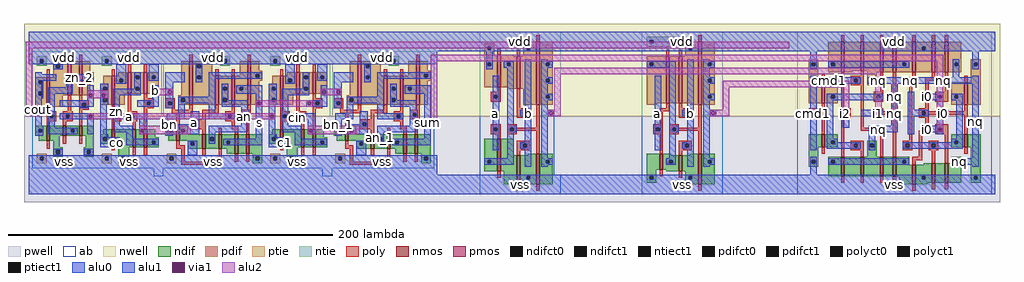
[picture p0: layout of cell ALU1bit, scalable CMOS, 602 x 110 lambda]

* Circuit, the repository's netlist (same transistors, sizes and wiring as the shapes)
* SPICE3 file created from ALU1bit.ext - technology: scmos

.option scale=0.055u

M1000 zn a vdd vdd pmos w=13 l=2
+  ad=104 pd=42 as=2950 ps=900
M1001 an_1 cin vdd vdd pmos w=18 l=2
+  ad=144 pd=52 as=0 ps=0
M1002 vdd a_266_32# a_220_80# vdd pmos w=19 l=2
+  ad=0 pd=0 as=342 ps=112
M1003 vdd zn co vdd pmos w=18 l=2
+  ad=0 pd=0 as=116 ps=50
M1004 vdd b bn vdd pmos w=27 l=2
+  ad=0 pd=0 as=294 ps=136
M1005 a_n103_34# cin vss vss nmos w=11 l=2
+  ad=55 pd=32 as=2057 ps=802
M1006 i1 a_8_19# vss vss nmos w=19 l=2
+  ad=152 pd=54 as=0 ps=0
M1007 vss cmd0 a_266_32# vss nmos w=8 l=2
+  ad=0 pd=0 as=64 ps=32
M1008 vss co zn_2 vss nmos w=6 l=2
+  ad=0 pd=0 as=48 ps=28
M1009 an_1 cin vss vss nmos w=9 l=2
+  ad=72 pd=34 as=0 ps=0
M1010 vss cmd0 a_220_16# vss nmos w=12 l=2
+  ad=0 pd=0 as=246 ps=94
M1011 s bn an vdd pmos w=18 l=2
+  ad=189 pd=70 as=144 ps=52
M1012 vdd zn_2 a_n269_41# vdd pmos w=18 l=2
+  ad=0 pd=0 as=126 ps=50
M1013 zn_1 cin vdd vdd pmos w=13 l=2
+  ad=104 pd=42 as=0 ps=0
M1014 a_230_16# i2 a_220_16# vss nmos w=12 l=2
+  ad=120 pd=44 as=0 ps=0
M1015 a_8_19# a vdd vdd pmos w=20 l=2
+  ad=203 pd=62 as=0 ps=0
M1016 s b an vss nmos w=9 l=2
+  ad=87 pd=40 as=72 ps=34
M1017 vdd zn_1 c1 vdd pmos w=18 l=2
+  ad=0 pd=0 as=116 ps=50
M1018 vdd s zn_1 vdd pmos w=13 l=2
+  ad=0 pd=0 as=0 ps=0
M1019 vss b bn vss nmos w=9 l=2
+  ad=0 pd=0 as=57 ps=32
M1020 i2 a_108_60# vdd vdd pmos w=39 l=2
+  ad=312 pd=94 as=0 ps=0
M1021 a_220_80# i1 a_254_80# vdd pmos w=19 l=2
+  ad=0 pd=0 as=114 ps=50
M1022 vss b a_18_19# vss nmos w=18 l=2
+  ad=0 pd=0 as=244 ps=76
M1023 zn_1 s a_n103_34# vss nmos w=11 l=2
+  ad=67 pd=36 as=0 ps=0
M1024 vss an_1 a_n40_30# vss nmos w=12 l=2
+  ad=0 pd=0 as=60 ps=34
M1025 zn_2 c1 vss vss nmos w=6 l=2
+  ad=0 pd=0 as=0 ps=0
M1026 vss zn co vss nmos w=9 l=2
+  ad=0 pd=0 as=57 ps=32
M1027 an a vdd vdd pmos w=18 l=2
+  ad=0 pd=0 as=0 ps=0
M1028 i1 a_8_19# vdd vdd pmos w=39 l=2
+  ad=312 pd=94 as=0 ps=0
M1029 vss b a_108_60# vss nmos w=10 l=2
+  ad=0 pd=0 as=103 ps=42
M1030 bn_1 an_1 i0 vdd pmos w=27 l=2
+  ad=294 pd=136 as=189 ps=70
M1031 a_n40_30# bn_1 i0 vss nmos w=12 l=2
+  ad=0 pd=0 as=87 ps=40
M1032 a_254_80# a_218_34# nq vdd pmos w=19 l=2
+  ad=0 pd=0 as=388 ps=128
M1033 an a vss vss nmos w=9 l=2
+  ad=0 pd=0 as=0 ps=0
M1034 a_220_16# i1 a_254_16# vss nmos w=12 l=2
+  ad=0 pd=0 as=72 ps=36
M1035 vdd b a_122_61# vdd pmos w=29 l=2
+  ad=0 pd=0 as=174 ps=70
M1036 vss zn_2 a_n269_41# vss nmos w=9 l=2
+  ad=0 pd=0 as=57 ps=32
M1037 vss zn_1 c1 vss nmos w=9 l=2
+  ad=0 pd=0 as=57 ps=32
M1038 nq i0 a_286_80# vdd pmos w=19 l=2
+  ad=0 pd=0 as=114 ps=50
M1039 vdd b zn vdd pmos w=13 l=2
+  ad=0 pd=0 as=0 ps=0
M1040 vdd s bn_1 vdd pmos w=27 l=2
+  ad=0 pd=0 as=0 ps=0
M1041 a_254_16# cmd1 nq vss nmos w=12 l=2
+  ad=0 pd=0 as=300 ps=112
M1042 a_218_34# cmd1 vdd vdd pmos w=14 l=2
+  ad=112 pd=44 as=0 ps=0
M1043 a_108_60# a vss vss nmos w=10 l=2
+  ad=0 pd=0 as=0 ps=0
M1044 nq i0 a_286_12# vss nmos w=12 l=2
+  ad=0 pd=0 as=72 ps=36
M1045 i0 bn_1 an_1 vdd pmos w=18 l=2
+  ad=0 pd=0 as=0 ps=0
M1046 a_122_61# a a_108_60# vdd pmos w=29 l=2
+  ad=0 pd=0 as=354 ps=84
M1047 nq cmd1 a_230_80# vdd pmos w=18 l=2
+  ad=0 pd=0 as=185 ps=58
M1048 zn b a_n207_34# vss nmos w=11 l=2
+  ad=67 pd=36 as=55 ps=32
M1049 vss an a_n144_30# vss nmos w=12 l=2
+  ad=0 pd=0 as=60 ps=34
M1050 a_286_80# cmd0 vdd vdd pmos w=19 l=2
+  ad=0 pd=0 as=0 ps=0
M1051 zn_2 co a_n247_66# vdd pmos w=21 l=2
+  ad=117 pd=56 as=105 ps=52
M1052 a_18_19# a a_8_19# vss nmos w=20 l=2
+  ad=0 pd=0 as=160 ps=56
M1053 vdd cmd0 a_266_32# vdd pmos w=14 l=2
+  ad=0 pd=0 as=112 ps=44
M1054 i0 s an_1 vss nmos w=9 l=2
+  ad=0 pd=0 as=0 ps=0
M1055 bn an s vdd pmos w=27 l=2
+  ad=0 pd=0 as=0 ps=0
M1056 a_n207_34# a vss vss nmos w=11 l=2
+  ad=0 pd=0 as=0 ps=0
M1057 a_n144_30# bn s vss nmos w=12 l=2
+  ad=0 pd=0 as=0 ps=0
M1058 a_n247_66# c1 vdd vdd pmos w=21 l=2
+  ad=0 pd=0 as=0 ps=0
M1059 a_286_12# a_266_32# vss vss nmos w=12 l=2
+  ad=0 pd=0 as=0 ps=0
M1060 vss s bn_1 vss nmos w=9 l=2
+  ad=0 pd=0 as=57 ps=32
M1061 i2 a_108_60# vss vss nmos w=19 l=2
+  ad=152 pd=54 as=0 ps=0
M1062 nq a_218_34# a_230_16# vss nmos w=12 l=2
+  ad=0 pd=0 as=0 ps=0
M1063 vdd b a_8_19# vdd pmos w=20 l=2
+  ad=0 pd=0 as=0 ps=0
M1064 a_230_80# i2 a_220_80# vdd pmos w=19 l=2
+  ad=0 pd=0 as=0 ps=0
M1065 a_218_34# cmd1 vss vss nmos w=8 l=2
+  ad=64 pd=32 as=0 ps=0

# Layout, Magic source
magic
tech scmos
<< ab >>
rect -271 85 -23 93
rect -271 59 -191 85
rect -265 55 -191 59
rect -271 53 -191 55
rect -190 53 -87 85
rect -86 53 -23 85
rect -271 21 -23 53
rect 5 56 55 105
rect 5 54 14 56
rect 16 54 34 56
rect 36 54 44 56
rect 46 54 55 56
rect 5 53 55 54
rect 105 56 155 105
rect 105 54 114 56
rect 116 54 134 56
rect 136 54 144 56
rect 146 54 155 56
rect -196 16 -190 21
rect -92 16 -86 21
rect 5 17 51 53
rect 5 5 55 17
rect 105 5 155 54
rect 201 5 321 105
<< nwell >>
rect -276 53 326 110
<< pwell >>
rect -276 0 326 53
<< poly >>
rect 40 99 42 103
rect 16 91 18 95
rect -249 87 -247 91
rect -242 87 -240 91
rect -262 77 -260 82
rect -174 87 -172 91
rect -222 78 -220 82
rect -212 80 -210 85
rect -202 80 -200 85
rect -262 56 -260 59
rect -249 56 -247 66
rect -242 63 -240 66
rect -242 61 -236 63
rect -242 59 -240 61
rect -238 59 -236 61
rect -242 57 -236 59
rect -262 54 -256 56
rect -262 52 -260 54
rect -258 52 -256 54
rect -262 50 -256 52
rect -252 54 -246 56
rect -252 52 -250 54
rect -248 52 -246 54
rect -252 50 -246 52
rect -262 47 -260 50
rect -252 47 -250 50
rect -242 47 -240 57
rect -222 56 -220 60
rect -212 56 -210 67
rect -202 64 -200 67
rect -202 62 -196 64
rect -202 60 -200 62
rect -198 60 -196 62
rect -202 58 -196 60
rect -189 62 -183 64
rect -189 60 -187 62
rect -185 60 -183 62
rect -138 87 -136 91
rect -158 78 -156 82
rect -148 78 -146 82
rect -70 87 -68 91
rect -118 78 -116 82
rect -108 80 -106 85
rect -98 80 -96 85
rect -189 58 -183 60
rect -222 54 -216 56
rect -222 52 -220 54
rect -218 52 -216 54
rect -222 50 -216 52
rect -212 54 -206 56
rect -212 52 -210 54
rect -208 52 -206 54
rect -212 50 -206 52
rect -222 45 -220 50
rect -209 45 -207 50
rect -202 45 -200 58
rect -185 57 -183 58
rect -174 57 -172 60
rect -158 57 -156 60
rect -185 55 -172 57
rect -166 55 -156 57
rect -148 56 -146 60
rect -138 57 -136 60
rect -182 47 -180 55
rect -166 51 -164 55
rect -173 49 -164 51
rect -152 54 -146 56
rect -152 52 -150 54
rect -148 52 -146 54
rect -152 50 -146 52
rect -142 55 -136 57
rect -142 53 -140 55
rect -138 53 -136 55
rect -142 51 -136 53
rect -118 56 -116 60
rect -108 56 -106 67
rect -98 64 -96 67
rect -98 62 -92 64
rect -98 60 -96 62
rect -94 60 -92 62
rect -98 58 -92 60
rect -85 62 -79 64
rect -85 60 -83 62
rect -81 60 -79 62
rect -34 87 -32 91
rect -54 78 -52 82
rect -44 78 -42 82
rect 28 90 30 94
rect 16 68 18 71
rect 12 66 18 68
rect 12 64 14 66
rect 16 64 18 66
rect 12 62 18 64
rect -85 58 -79 60
rect -118 54 -112 56
rect -118 52 -116 54
rect -114 52 -112 54
rect -173 47 -171 49
rect -169 47 -164 49
rect -262 33 -260 38
rect -252 36 -250 41
rect -242 36 -240 41
rect -222 32 -220 36
rect -173 45 -164 47
rect -148 47 -146 50
rect -166 42 -164 45
rect -156 42 -154 46
rect -148 45 -144 47
rect -146 42 -144 45
rect -139 42 -137 51
rect -118 50 -112 52
rect -108 54 -102 56
rect -108 52 -106 54
rect -104 52 -102 54
rect -108 50 -102 52
rect -118 45 -116 50
rect -105 45 -103 50
rect -98 45 -96 58
rect -81 57 -79 58
rect -70 57 -68 60
rect -54 57 -52 60
rect -81 55 -68 57
rect -62 55 -52 57
rect -44 56 -42 60
rect -34 57 -32 60
rect -78 47 -76 55
rect -62 51 -60 55
rect -69 49 -60 51
rect -48 54 -42 56
rect -48 52 -46 54
rect -44 52 -42 54
rect -48 50 -42 52
rect -38 55 -32 57
rect -38 53 -36 55
rect -34 53 -32 55
rect -38 51 -32 53
rect 28 58 30 70
rect 140 99 142 103
rect 228 99 230 103
rect 240 99 242 103
rect 252 99 254 103
rect 260 99 262 103
rect 272 99 274 103
rect 284 99 286 103
rect 292 99 294 103
rect 120 90 122 94
rect 128 90 130 94
rect 28 56 36 58
rect 28 54 32 56
rect 34 54 36 56
rect 28 52 36 54
rect -69 47 -67 49
rect -65 47 -60 49
rect -182 35 -180 38
rect -209 29 -207 34
rect -202 29 -200 34
rect -182 33 -177 35
rect -179 25 -177 33
rect -166 29 -164 33
rect -156 25 -154 33
rect -118 32 -116 36
rect -69 45 -60 47
rect -44 47 -42 50
rect -62 42 -60 45
rect -52 42 -50 46
rect -44 45 -40 47
rect -42 42 -40 45
rect -35 42 -33 51
rect 12 46 18 48
rect 12 44 14 46
rect 16 44 18 46
rect 12 42 18 44
rect 22 46 28 48
rect 40 46 42 60
rect 120 58 122 61
rect 116 56 122 58
rect 128 58 130 61
rect 216 75 218 79
rect 128 56 136 58
rect 116 48 118 56
rect 128 54 132 56
rect 134 54 136 56
rect 128 52 136 54
rect 22 44 24 46
rect 26 44 42 46
rect 22 42 28 44
rect -78 35 -76 38
rect -146 25 -144 30
rect -139 25 -137 30
rect -179 23 -154 25
rect -105 29 -103 34
rect -98 29 -96 34
rect -78 33 -73 35
rect -75 25 -73 33
rect -62 29 -60 33
rect -52 25 -50 33
rect 16 39 18 42
rect -42 25 -40 30
rect -35 25 -33 30
rect -75 23 -50 25
rect 28 36 36 38
rect 28 34 32 36
rect 34 34 36 36
rect 28 32 36 34
rect 28 29 30 32
rect 40 30 42 44
rect 112 46 118 48
rect 112 44 114 46
rect 116 44 118 46
rect 112 42 118 44
rect 122 46 128 48
rect 140 46 142 60
rect 216 58 218 61
rect 208 56 218 58
rect 208 54 210 56
rect 212 54 218 56
rect 208 52 218 54
rect 122 44 124 46
rect 126 44 142 46
rect 122 42 128 44
rect 116 30 118 42
rect 128 36 136 38
rect 128 34 132 36
rect 134 34 136 36
rect 128 32 136 34
rect 16 15 18 19
rect 128 29 130 32
rect 140 30 142 44
rect 216 42 218 52
rect 228 58 230 80
rect 240 78 242 81
rect 234 76 242 78
rect 234 74 236 76
rect 238 74 242 76
rect 234 72 242 74
rect 228 56 234 58
rect 228 54 230 56
rect 232 54 234 56
rect 228 52 234 54
rect 116 16 118 20
rect 128 15 130 19
rect 216 30 218 34
rect 228 28 230 52
rect 240 46 242 72
rect 252 68 254 80
rect 248 66 254 68
rect 248 64 250 66
rect 252 64 254 66
rect 248 62 254 64
rect 248 56 254 58
rect 260 56 262 80
rect 272 77 274 80
rect 284 77 286 80
rect 248 54 250 56
rect 252 54 262 56
rect 248 52 254 54
rect 240 44 254 46
rect 234 36 242 38
rect 234 34 236 36
rect 238 34 242 36
rect 234 32 242 34
rect 240 28 242 32
rect 252 28 254 44
rect 260 28 262 54
rect 270 75 274 77
rect 280 75 286 77
rect 270 38 272 75
rect 280 58 282 75
rect 292 68 294 80
rect 304 74 306 78
rect 286 66 294 68
rect 286 64 288 66
rect 290 64 294 66
rect 286 62 294 64
rect 276 56 282 58
rect 304 56 306 60
rect 276 54 278 56
rect 280 54 306 56
rect 276 52 282 54
rect 280 44 282 52
rect 266 36 272 38
rect 266 34 268 36
rect 270 34 272 36
rect 266 32 272 34
rect 276 42 282 44
rect 286 46 294 48
rect 286 44 288 46
rect 290 44 294 46
rect 286 42 294 44
rect 304 42 306 54
rect 276 28 278 42
rect 282 36 288 38
rect 282 34 284 36
rect 286 34 288 36
rect 282 32 288 34
rect 272 26 278 28
rect 272 23 274 26
rect 284 24 286 32
rect 292 24 294 42
rect 304 30 306 34
rect 228 12 230 16
rect 240 12 242 16
rect 252 12 254 16
rect 260 12 262 16
rect 28 7 30 11
rect 40 7 42 11
rect 140 7 142 11
rect 272 7 274 11
rect 284 8 286 12
rect 292 8 294 12
<< ndif >>
rect -269 45 -262 47
rect -269 43 -267 45
rect -265 43 -262 45
rect -269 41 -262 43
rect -267 38 -262 41
rect -260 41 -252 47
rect -250 45 -242 47
rect -250 43 -247 45
rect -245 43 -242 45
rect -250 41 -242 43
rect -240 41 -233 47
rect -189 45 -182 47
rect -227 42 -222 45
rect -260 38 -254 41
rect -258 34 -254 38
rect -238 34 -233 41
rect -229 40 -222 42
rect -229 38 -227 40
rect -225 38 -222 40
rect -229 36 -222 38
rect -220 36 -209 45
rect -258 32 -252 34
rect -258 30 -256 32
rect -254 30 -252 32
rect -258 28 -252 30
rect -239 32 -233 34
rect -218 34 -209 36
rect -207 34 -202 45
rect -200 40 -195 45
rect -189 43 -187 45
rect -185 43 -182 45
rect -189 41 -182 43
rect -200 38 -193 40
rect -187 38 -182 41
rect -180 42 -175 47
rect -85 45 -78 47
rect -123 42 -118 45
rect -180 38 -166 42
rect -200 36 -197 38
rect -195 36 -193 38
rect -200 34 -193 36
rect -175 37 -166 38
rect -175 35 -173 37
rect -171 35 -166 37
rect -239 30 -237 32
rect -235 30 -233 32
rect -239 28 -233 30
rect -218 28 -211 34
rect -175 33 -166 35
rect -164 40 -156 42
rect -164 38 -161 40
rect -159 38 -156 40
rect -164 33 -156 38
rect -154 38 -146 42
rect -154 36 -151 38
rect -149 36 -146 38
rect -154 33 -146 36
rect -218 26 -216 28
rect -214 26 -211 28
rect -218 24 -211 26
rect -151 30 -146 33
rect -144 30 -139 42
rect -137 30 -129 42
rect -125 40 -118 42
rect -125 38 -123 40
rect -121 38 -118 40
rect -125 36 -118 38
rect -116 36 -105 45
rect -114 34 -105 36
rect -103 34 -98 45
rect -96 40 -91 45
rect -85 43 -83 45
rect -81 43 -78 45
rect -85 41 -78 43
rect -96 38 -89 40
rect -83 38 -78 41
rect -76 42 -71 47
rect -76 38 -62 42
rect -96 36 -93 38
rect -91 36 -89 38
rect -96 34 -89 36
rect -71 37 -62 38
rect -71 35 -69 37
rect -67 35 -62 37
rect -135 28 -129 30
rect -135 26 -133 28
rect -131 26 -129 28
rect -135 24 -129 26
rect -114 28 -107 34
rect -71 33 -62 35
rect -60 40 -52 42
rect -60 38 -57 40
rect -55 38 -52 40
rect -60 33 -52 38
rect -50 38 -42 42
rect -50 36 -47 38
rect -45 36 -42 38
rect -50 33 -42 36
rect -114 26 -112 28
rect -110 26 -107 28
rect -114 24 -107 26
rect -47 30 -42 33
rect -40 30 -35 42
rect -33 30 -25 42
rect -31 28 -25 30
rect -31 26 -29 28
rect -27 26 -25 28
rect -31 24 -25 26
rect 8 26 16 39
rect 8 24 10 26
rect 12 24 16 26
rect 8 19 16 24
rect 18 29 26 39
rect 35 29 40 30
rect 18 19 28 29
rect 20 11 28 19
rect 30 16 40 29
rect 30 14 34 16
rect 36 14 40 16
rect 30 11 40 14
rect 42 26 50 30
rect 42 24 46 26
rect 48 24 50 26
rect 42 11 50 24
rect 108 20 116 30
rect 118 29 123 30
rect 208 34 216 42
rect 218 38 226 42
rect 218 36 222 38
rect 224 36 226 38
rect 218 34 226 36
rect 135 29 140 30
rect 118 26 128 29
rect 118 24 122 26
rect 124 24 128 26
rect 118 20 128 24
rect 108 16 114 20
rect 120 19 128 20
rect 130 19 140 29
rect 108 14 110 16
rect 112 14 114 16
rect 132 16 140 19
rect 108 12 114 14
rect 132 14 134 16
rect 136 14 140 16
rect 132 11 140 14
rect 142 26 150 30
rect 142 24 146 26
rect 148 24 150 26
rect 142 11 150 24
rect 208 26 214 34
rect 244 36 250 38
rect 244 34 246 36
rect 248 34 250 36
rect 244 28 250 34
rect 208 24 210 26
rect 212 24 214 26
rect 208 22 214 24
rect 220 26 228 28
rect 220 24 222 26
rect 224 24 228 26
rect 220 16 228 24
rect 230 16 240 28
rect 242 16 252 28
rect 254 16 260 28
rect 262 26 270 28
rect 262 24 266 26
rect 268 24 270 26
rect 262 23 270 24
rect 296 38 304 42
rect 296 36 298 38
rect 300 36 304 38
rect 296 34 304 36
rect 306 34 314 42
rect 296 26 302 28
rect 296 24 298 26
rect 300 24 302 26
rect 279 23 284 24
rect 262 16 272 23
rect 264 11 272 16
rect 274 16 284 23
rect 274 14 278 16
rect 280 14 284 16
rect 274 12 284 14
rect 286 12 292 24
rect 294 12 302 24
rect 308 16 314 34
rect 308 14 310 16
rect 312 14 314 16
rect 308 12 314 14
rect 274 11 281 12
<< pdif >>
rect 8 96 14 98
rect 8 94 10 96
rect 12 94 14 96
rect 32 96 40 99
rect 8 91 14 94
rect 32 94 34 96
rect 36 94 40 96
rect -258 85 -249 87
rect -258 83 -256 85
rect -254 83 -249 85
rect -258 77 -249 83
rect -269 75 -262 77
rect -269 73 -267 75
rect -265 73 -262 75
rect -269 68 -262 73
rect -269 66 -267 68
rect -265 66 -262 68
rect -269 59 -262 66
rect -260 66 -249 77
rect -247 66 -242 87
rect -240 80 -235 87
rect -240 78 -233 80
rect -218 78 -212 80
rect -240 76 -237 78
rect -235 76 -233 78
rect -240 74 -233 76
rect -240 66 -235 74
rect -227 73 -222 78
rect -229 71 -222 73
rect -229 69 -227 71
rect -225 69 -222 71
rect -260 59 -252 66
rect -229 64 -222 69
rect -229 62 -227 64
rect -225 62 -222 64
rect -229 60 -222 62
rect -220 76 -212 78
rect -220 74 -217 76
rect -215 74 -212 76
rect -220 67 -212 74
rect -210 78 -202 80
rect -210 76 -207 78
rect -205 76 -202 78
rect -210 71 -202 76
rect -210 69 -207 71
rect -205 69 -202 71
rect -210 67 -202 69
rect -200 78 -193 80
rect -200 76 -197 78
rect -195 76 -193 78
rect -200 67 -193 76
rect -220 60 -214 67
rect -179 66 -174 87
rect -181 64 -174 66
rect -181 62 -179 64
rect -177 62 -174 64
rect -181 60 -174 62
rect -172 85 -160 87
rect -172 83 -169 85
rect -167 83 -160 85
rect -172 78 -160 83
rect -143 78 -138 87
rect -172 76 -169 78
rect -167 76 -158 78
rect -172 60 -158 76
rect -156 71 -148 78
rect -156 69 -153 71
rect -151 69 -148 71
rect -156 64 -148 69
rect -156 62 -153 64
rect -151 62 -148 64
rect -156 60 -148 62
rect -146 71 -138 78
rect -146 69 -143 71
rect -141 69 -138 71
rect -146 60 -138 69
rect -136 81 -131 87
rect -136 79 -129 81
rect -136 77 -133 79
rect -131 77 -129 79
rect -114 78 -108 80
rect -136 75 -129 77
rect -136 60 -131 75
rect -123 73 -118 78
rect -125 71 -118 73
rect -125 69 -123 71
rect -121 69 -118 71
rect -125 64 -118 69
rect -125 62 -123 64
rect -121 62 -118 64
rect -125 60 -118 62
rect -116 76 -108 78
rect -116 74 -113 76
rect -111 74 -108 76
rect -116 67 -108 74
rect -106 78 -98 80
rect -106 76 -103 78
rect -101 76 -98 78
rect -106 71 -98 76
rect -106 69 -103 71
rect -101 69 -98 71
rect -106 67 -98 69
rect -96 78 -89 80
rect -96 76 -93 78
rect -91 76 -89 78
rect -96 67 -89 76
rect -116 60 -110 67
rect -75 66 -70 87
rect -77 64 -70 66
rect -77 62 -75 64
rect -73 62 -70 64
rect -77 60 -70 62
rect -68 85 -56 87
rect -68 83 -65 85
rect -63 83 -56 85
rect -68 78 -56 83
rect -39 78 -34 87
rect -68 76 -65 78
rect -63 76 -54 78
rect -68 60 -54 76
rect -52 71 -44 78
rect -52 69 -49 71
rect -47 69 -44 71
rect -52 64 -44 69
rect -52 62 -49 64
rect -47 62 -44 64
rect -52 60 -44 62
rect -42 71 -34 78
rect -42 69 -39 71
rect -37 69 -34 71
rect -42 60 -34 69
rect -32 81 -27 87
rect 8 86 16 91
rect 8 84 10 86
rect 12 84 16 86
rect -32 79 -25 81
rect -32 77 -29 79
rect -27 77 -25 79
rect -32 75 -25 77
rect -32 60 -27 75
rect 8 71 16 84
rect 18 90 26 91
rect 32 90 40 94
rect 18 86 28 90
rect 18 84 22 86
rect 24 84 28 86
rect 18 71 28 84
rect 23 70 28 71
rect 30 70 40 90
rect 32 60 40 70
rect 42 86 50 99
rect 132 96 140 99
rect 132 94 134 96
rect 136 94 140 96
rect 132 90 140 94
rect 42 84 46 86
rect 48 84 50 86
rect 42 76 50 84
rect 42 74 46 76
rect 48 74 50 76
rect 42 66 50 74
rect 42 64 46 66
rect 48 64 50 66
rect 42 60 50 64
rect 108 86 120 90
rect 108 84 110 86
rect 112 84 120 86
rect 108 61 120 84
rect 122 61 128 90
rect 130 61 140 90
rect 108 60 114 61
rect 135 60 140 61
rect 142 86 150 99
rect 142 84 146 86
rect 148 84 150 86
rect 142 76 150 84
rect 142 74 146 76
rect 148 74 150 76
rect 142 66 150 74
rect 142 64 146 66
rect 148 64 150 66
rect 142 60 150 64
rect 208 86 214 88
rect 208 84 210 86
rect 212 84 214 86
rect 208 75 214 84
rect 220 86 228 99
rect 220 84 222 86
rect 224 84 228 86
rect 220 80 228 84
rect 230 81 240 99
rect 242 81 252 99
rect 230 80 235 81
rect 208 61 216 75
rect 218 66 226 75
rect 218 64 222 66
rect 224 64 226 66
rect 218 61 226 64
rect 244 80 252 81
rect 254 80 260 99
rect 262 86 272 99
rect 262 84 266 86
rect 268 84 272 86
rect 262 80 272 84
rect 274 96 284 99
rect 274 94 278 96
rect 280 94 284 96
rect 274 80 284 94
rect 286 80 292 99
rect 294 86 302 99
rect 294 84 298 86
rect 300 84 302 86
rect 294 80 302 84
rect 308 86 314 88
rect 308 84 310 86
rect 312 84 314 86
rect 244 76 250 80
rect 244 74 246 76
rect 248 74 250 76
rect 244 72 250 74
rect 308 74 314 84
rect 296 66 304 74
rect 296 64 298 66
rect 300 64 304 66
rect 296 60 304 64
rect 306 60 314 74
<< alu1 >>
rect -273 100 323 105
rect -273 98 110 100
rect 112 98 122 100
rect 124 98 323 100
rect -273 96 323 98
rect -273 94 10 96
rect 12 94 34 96
rect 36 94 134 96
rect 136 94 278 96
rect 280 94 323 96
rect -273 93 323 94
rect -273 88 -21 93
rect -273 86 -266 88
rect -264 86 -226 88
rect -224 86 -153 88
rect -151 86 -122 88
rect -120 86 -49 88
rect -47 86 -21 88
rect -273 85 -21 86
rect 9 86 13 93
rect -269 79 -265 80
rect -269 75 -256 79
rect -269 73 -267 75
rect -269 68 -265 73
rect -269 66 -267 68
rect -269 56 -265 66
rect -237 67 -233 72
rect -269 54 -268 56
rect -266 54 -265 56
rect -269 47 -265 54
rect -237 65 -236 67
rect -234 65 -233 67
rect -237 63 -233 65
rect -254 61 -233 63
rect -254 59 -240 61
rect -238 59 -233 61
rect -229 71 -224 73
rect -229 69 -227 71
rect -225 69 -224 71
rect -189 74 -177 80
rect -229 67 -224 69
rect -229 65 -228 67
rect -226 65 -224 67
rect -229 64 -224 65
rect -229 62 -227 64
rect -225 62 -224 64
rect -229 60 -224 62
rect -197 69 -193 72
rect -197 67 -196 69
rect -194 67 -193 69
rect -269 45 -264 47
rect -269 43 -267 45
rect -265 43 -264 45
rect -269 41 -264 43
rect -254 54 -233 55
rect -254 52 -250 54
rect -248 52 -236 54
rect -234 52 -233 54
rect -254 51 -233 52
rect -237 42 -233 51
rect -229 40 -225 60
rect -197 63 -193 67
rect -206 62 -193 63
rect -206 60 -200 62
rect -198 60 -193 62
rect -206 59 -193 60
rect -189 69 -184 74
rect -189 67 -187 69
rect -185 67 -184 69
rect -189 62 -184 67
rect -189 60 -187 62
rect -185 60 -184 62
rect -189 58 -184 60
rect -214 54 -200 55
rect -214 52 -210 54
rect -208 52 -200 54
rect -214 51 -200 52
rect -229 38 -227 40
rect -225 38 -217 40
rect -229 34 -217 38
rect -205 45 -200 51
rect -205 43 -204 45
rect -202 43 -200 45
rect -205 42 -200 43
rect -173 49 -168 56
rect -145 71 -129 72
rect -145 69 -143 71
rect -141 69 -129 71
rect -145 67 -129 69
rect -133 62 -129 67
rect -133 60 -132 62
rect -130 60 -129 62
rect -173 48 -171 49
rect -181 47 -171 48
rect -169 47 -168 49
rect -181 45 -168 47
rect -181 43 -179 45
rect -177 43 -168 45
rect -181 42 -168 43
rect -133 39 -129 60
rect -153 38 -129 39
rect -153 36 -151 38
rect -149 36 -129 38
rect -153 35 -129 36
rect -125 71 -120 73
rect -125 69 -123 71
rect -121 69 -120 71
rect -85 74 -73 80
rect 9 84 10 86
rect 12 84 13 86
rect 9 82 13 84
rect 20 86 26 87
rect 20 84 22 86
rect 24 84 26 86
rect 20 83 26 84
rect -125 64 -120 69
rect -125 62 -123 64
rect -121 62 -120 64
rect -125 60 -120 62
rect -93 69 -89 72
rect -93 67 -92 69
rect -90 67 -89 69
rect -125 54 -121 60
rect -125 52 -124 54
rect -122 52 -121 54
rect -125 40 -121 52
rect -93 63 -89 67
rect -102 62 -89 63
rect -102 60 -101 62
rect -99 60 -96 62
rect -94 60 -89 62
rect -102 59 -89 60
rect -85 69 -80 74
rect -85 67 -83 69
rect -81 67 -80 69
rect -85 62 -80 67
rect -85 60 -83 62
rect -81 60 -80 62
rect -85 58 -80 60
rect -110 54 -96 55
rect -110 52 -106 54
rect -104 52 -96 54
rect -110 51 -96 52
rect -125 38 -123 40
rect -121 38 -113 40
rect -125 34 -113 38
rect -101 45 -96 51
rect -101 43 -100 45
rect -98 43 -96 45
rect -101 42 -96 43
rect -69 49 -64 56
rect -41 71 -25 72
rect -41 69 -39 71
rect -37 69 -25 71
rect -41 67 -25 69
rect -29 51 -25 67
rect 13 66 17 78
rect 13 64 14 66
rect 16 64 17 66
rect -69 48 -67 49
rect -77 47 -67 48
rect -65 47 -64 49
rect -77 45 -64 47
rect -77 43 -75 45
rect -73 43 -64 45
rect -77 42 -64 43
rect -29 50 -21 51
rect -29 48 -24 50
rect -22 48 -21 50
rect -29 47 -21 48
rect -29 39 -25 47
rect -49 38 -25 39
rect -49 36 -47 38
rect -45 36 -25 38
rect -49 35 -25 36
rect 13 46 17 64
rect 13 44 14 46
rect 16 44 17 46
rect 13 32 17 44
rect 22 47 26 83
rect 33 57 37 88
rect 30 56 37 57
rect 30 54 32 56
rect 34 54 37 56
rect 30 53 37 54
rect 22 46 28 47
rect 22 44 24 46
rect 26 44 28 46
rect 22 43 28 44
rect -273 28 -21 29
rect -273 26 -266 28
rect -264 26 -226 28
rect -224 26 -216 28
rect -214 26 -186 28
rect -184 26 -133 28
rect -131 26 -122 28
rect -120 26 -112 28
rect -110 26 -82 28
rect -80 26 -29 28
rect -27 26 -21 28
rect 22 27 26 43
rect 33 37 37 53
rect 30 36 37 37
rect 30 34 32 36
rect 34 34 37 36
rect 30 33 37 34
rect -273 17 -21 26
rect 8 26 26 27
rect 8 24 10 26
rect 12 24 26 26
rect 8 23 26 24
rect 33 22 37 33
rect 43 87 47 88
rect 43 86 50 87
rect 43 84 46 86
rect 48 84 50 86
rect 43 83 50 84
rect 108 86 126 87
rect 108 84 110 86
rect 112 84 126 86
rect 108 83 126 84
rect 43 77 47 83
rect 43 76 50 77
rect 43 74 46 76
rect 48 74 50 76
rect 43 73 50 74
rect 43 67 47 73
rect 43 66 50 67
rect 43 64 46 66
rect 48 64 50 66
rect 43 63 50 64
rect 43 57 47 63
rect 43 56 51 57
rect 43 54 48 56
rect 50 54 51 56
rect 43 53 51 54
rect 43 27 47 53
rect 113 46 117 78
rect 113 44 114 46
rect 116 44 117 46
rect 113 32 117 44
rect 122 47 126 83
rect 133 57 137 88
rect 130 56 137 57
rect 130 54 132 56
rect 134 54 137 56
rect 130 53 137 54
rect 122 46 128 47
rect 122 44 124 46
rect 126 44 128 46
rect 122 43 128 44
rect 122 27 126 43
rect 133 37 137 53
rect 130 36 137 37
rect 130 34 132 36
rect 134 34 137 36
rect 130 33 137 34
rect 43 26 50 27
rect 43 24 46 26
rect 48 24 50 26
rect 43 23 50 24
rect 120 26 126 27
rect 120 24 122 26
rect 124 24 126 26
rect 120 23 126 24
rect 43 22 47 23
rect 133 22 137 33
rect 143 87 147 88
rect 143 86 150 87
rect 143 84 146 86
rect 148 84 150 86
rect 143 83 150 84
rect 209 86 213 93
rect 209 84 210 86
rect 212 84 213 86
rect 143 77 147 83
rect 209 82 213 84
rect 220 86 270 87
rect 220 84 222 86
rect 224 84 266 86
rect 268 84 270 86
rect 220 83 270 84
rect 297 86 301 88
rect 297 84 298 86
rect 300 84 301 86
rect 209 77 213 78
rect 297 77 301 84
rect 309 86 313 93
rect 309 84 310 86
rect 312 84 313 86
rect 309 82 313 84
rect 309 77 313 78
rect 143 76 150 77
rect 143 74 146 76
rect 148 74 150 76
rect 143 73 150 74
rect 209 76 240 77
rect 209 74 236 76
rect 238 74 240 76
rect 209 73 240 74
rect 244 76 313 77
rect 244 74 246 76
rect 248 74 313 76
rect 244 73 313 74
rect 143 67 147 73
rect 143 66 150 67
rect 143 64 146 66
rect 148 64 150 66
rect 143 63 150 64
rect 143 57 147 63
rect 143 56 151 57
rect 143 54 148 56
rect 150 54 151 56
rect 143 53 151 54
rect 209 56 213 73
rect 209 54 210 56
rect 212 54 213 56
rect 143 27 147 53
rect 209 32 213 54
rect 219 66 254 67
rect 219 64 222 66
rect 224 64 250 66
rect 252 64 254 66
rect 219 63 254 64
rect 219 39 223 63
rect 229 56 233 58
rect 229 54 230 56
rect 232 54 233 56
rect 229 46 233 54
rect 240 56 254 57
rect 240 54 250 56
rect 252 54 254 56
rect 240 53 254 54
rect 259 47 263 73
rect 245 43 263 47
rect 269 57 273 68
rect 287 67 291 68
rect 278 66 291 67
rect 278 64 288 66
rect 290 64 291 66
rect 278 63 291 64
rect 296 66 303 67
rect 296 64 298 66
rect 300 64 303 66
rect 296 63 303 64
rect 287 57 291 63
rect 269 56 282 57
rect 269 54 278 56
rect 280 54 282 56
rect 269 53 282 54
rect 287 53 294 57
rect 219 38 226 39
rect 219 36 222 38
rect 224 37 226 38
rect 224 36 240 37
rect 219 34 236 36
rect 238 34 240 36
rect 219 33 240 34
rect 245 36 249 43
rect 269 42 273 53
rect 287 47 291 53
rect 278 46 291 47
rect 278 44 288 46
rect 290 44 291 46
rect 278 43 291 44
rect 287 42 291 43
rect 299 39 303 63
rect 296 38 303 39
rect 296 37 298 38
rect 245 34 246 36
rect 248 34 249 36
rect 245 32 249 34
rect 266 36 298 37
rect 300 36 303 38
rect 266 34 268 36
rect 270 34 284 36
rect 286 34 303 36
rect 266 33 303 34
rect 143 26 150 27
rect 143 24 146 26
rect 148 24 150 26
rect 143 23 150 24
rect 209 26 213 28
rect 309 27 313 73
rect 209 24 210 26
rect 212 24 213 26
rect 143 22 147 23
rect 209 17 213 24
rect 220 26 270 27
rect 220 24 222 26
rect 224 24 266 26
rect 268 24 270 26
rect 220 23 270 24
rect 296 26 313 27
rect 296 24 298 26
rect 300 24 313 26
rect 296 23 313 24
rect 309 22 313 23
rect -273 16 323 17
rect -273 14 34 16
rect 36 14 110 16
rect 112 14 134 16
rect 136 14 278 16
rect 280 14 310 16
rect 312 14 323 16
rect -273 5 323 14
<< alu2 >>
rect -275 95 196 99
rect -275 57 -271 95
rect -25 87 291 91
rect -197 69 -184 70
rect -237 67 -224 69
rect -237 65 -236 67
rect -234 65 -228 67
rect -226 65 -224 67
rect -197 67 -196 69
rect -194 67 -187 69
rect -185 67 -184 69
rect -197 66 -184 67
rect -93 69 -80 70
rect -93 67 -92 69
rect -90 67 -83 69
rect -81 67 -80 69
rect -93 66 -80 67
rect -237 64 -224 65
rect -133 62 -98 63
rect -133 60 -132 62
rect -130 60 -101 62
rect -99 60 -98 62
rect -133 59 -98 60
rect -275 56 -265 57
rect -275 54 -268 56
rect -266 54 -265 56
rect -275 53 -265 54
rect -237 54 -121 55
rect -237 52 -236 54
rect -234 52 -124 54
rect -122 52 -121 54
rect -237 51 -121 52
rect -25 51 -21 87
rect 51 79 253 83
rect 51 57 55 79
rect 155 71 233 75
rect 155 57 159 71
rect 47 56 55 57
rect 47 54 48 56
rect 50 54 55 56
rect 47 53 55 54
rect 147 56 159 57
rect 147 54 148 56
rect 150 54 159 56
rect 147 53 159 54
rect 229 56 233 71
rect 229 54 230 56
rect 232 54 233 56
rect 229 53 233 54
rect 249 56 253 79
rect 249 54 250 56
rect 252 54 253 56
rect 249 53 253 54
rect 287 66 291 87
rect 287 64 288 66
rect 290 64 291 66
rect -29 50 -21 51
rect -29 48 -24 50
rect -22 48 -21 50
rect -29 47 -21 48
rect -205 45 -173 47
rect -205 43 -204 45
rect -202 43 -179 45
rect -177 43 -173 45
rect -205 42 -173 43
rect -101 45 -69 47
rect -101 43 -100 45
rect -98 43 -75 45
rect -73 43 -69 45
rect 287 46 291 64
rect 287 44 288 46
rect 290 44 291 46
rect 287 43 291 44
rect -101 42 -69 43
<< ptie >>
rect -268 28 -262 30
rect -228 28 -222 30
rect -268 26 -266 28
rect -264 26 -262 28
rect -268 24 -262 26
rect -228 26 -226 28
rect -224 26 -222 28
rect -228 24 -222 26
rect -188 28 -182 30
rect -188 26 -186 28
rect -184 26 -182 28
rect -188 24 -182 26
rect -124 28 -118 30
rect -124 26 -122 28
rect -120 26 -118 28
rect -124 24 -118 26
rect -84 28 -78 30
rect -84 26 -82 28
rect -80 26 -78 28
rect -84 24 -78 26
<< ntie >>
rect 108 100 126 102
rect -268 88 -262 90
rect -268 86 -266 88
rect -264 86 -262 88
rect -228 88 -222 90
rect -268 84 -262 86
rect -228 86 -226 88
rect -224 86 -222 88
rect -155 88 -149 90
rect -228 84 -222 86
rect -155 86 -153 88
rect -151 86 -149 88
rect -124 88 -118 90
rect -155 84 -149 86
rect -124 86 -122 88
rect -120 86 -118 88
rect -51 88 -45 90
rect -124 84 -118 86
rect -51 86 -49 88
rect -47 86 -45 88
rect -51 84 -45 86
rect 108 98 110 100
rect 112 98 122 100
rect 124 98 126 100
rect 108 96 126 98
<< nmos >>
rect -262 38 -260 47
rect -252 41 -250 47
rect -242 41 -240 47
rect -222 36 -220 45
rect -209 34 -207 45
rect -202 34 -200 45
rect -182 38 -180 47
rect -166 33 -164 42
rect -156 33 -154 42
rect -146 30 -144 42
rect -139 30 -137 42
rect -118 36 -116 45
rect -105 34 -103 45
rect -98 34 -96 45
rect -78 38 -76 47
rect -62 33 -60 42
rect -52 33 -50 42
rect -42 30 -40 42
rect -35 30 -33 42
rect 16 19 18 39
rect 28 11 30 29
rect 40 11 42 30
rect 116 20 118 30
rect 216 34 218 42
rect 128 19 130 29
rect 140 11 142 30
rect 228 16 230 28
rect 240 16 242 28
rect 252 16 254 28
rect 260 16 262 28
rect 304 34 306 42
rect 272 11 274 23
rect 284 12 286 24
rect 292 12 294 24
<< pmos >>
rect -262 59 -260 77
rect -249 66 -247 87
rect -242 66 -240 87
rect -222 60 -220 78
rect -212 67 -210 80
rect -202 67 -200 80
rect -174 60 -172 87
rect -158 60 -156 78
rect -148 60 -146 78
rect -138 60 -136 87
rect -118 60 -116 78
rect -108 67 -106 80
rect -98 67 -96 80
rect -70 60 -68 87
rect -54 60 -52 78
rect -44 60 -42 78
rect -34 60 -32 87
rect 16 71 18 91
rect 28 70 30 90
rect 40 60 42 99
rect 120 61 122 90
rect 128 61 130 90
rect 140 60 142 99
rect 228 80 230 99
rect 240 81 242 99
rect 216 61 218 75
rect 252 80 254 99
rect 260 80 262 99
rect 272 80 274 99
rect 284 80 286 99
rect 292 80 294 99
rect 304 60 306 74
<< polyct0 >>
rect -260 52 -258 54
rect -220 52 -218 54
rect -150 52 -148 54
rect -140 53 -138 55
rect -116 52 -114 54
rect -46 52 -44 54
rect -36 53 -34 55
<< polyct1 >>
rect -240 59 -238 61
rect -250 52 -248 54
rect -200 60 -198 62
rect -187 60 -185 62
rect -210 52 -208 54
rect -96 60 -94 62
rect -83 60 -81 62
rect 14 64 16 66
rect -171 47 -169 49
rect -106 52 -104 54
rect 32 54 34 56
rect -67 47 -65 49
rect 14 44 16 46
rect 132 54 134 56
rect 24 44 26 46
rect 32 34 34 36
rect 114 44 116 46
rect 210 54 212 56
rect 124 44 126 46
rect 132 34 134 36
rect 236 74 238 76
rect 230 54 232 56
rect 250 64 252 66
rect 250 54 252 56
rect 236 34 238 36
rect 288 64 290 66
rect 278 54 280 56
rect 268 34 270 36
rect 288 44 290 46
rect 284 34 286 36
<< ndifct0 >>
rect -247 43 -245 45
rect -256 30 -254 32
rect -187 43 -185 45
rect -197 36 -195 38
rect -173 35 -171 37
rect -237 30 -235 32
rect -161 38 -159 40
rect -83 43 -81 45
rect -93 36 -91 38
rect -69 35 -67 37
rect -57 38 -55 40
<< ndifct1 >>
rect -267 43 -265 45
rect -227 38 -225 40
rect -151 36 -149 38
rect -216 26 -214 28
rect -123 38 -121 40
rect -133 26 -131 28
rect -47 36 -45 38
rect -112 26 -110 28
rect -29 26 -27 28
rect 10 24 12 26
rect 34 14 36 16
rect 46 24 48 26
rect 222 36 224 38
rect 122 24 124 26
rect 110 14 112 16
rect 134 14 136 16
rect 146 24 148 26
rect 246 34 248 36
rect 210 24 212 26
rect 222 24 224 26
rect 266 24 268 26
rect 298 36 300 38
rect 298 24 300 26
rect 278 14 280 16
rect 310 14 312 16
<< ntiect1 >>
rect -266 86 -264 88
rect -226 86 -224 88
rect -153 86 -151 88
rect -122 86 -120 88
rect -49 86 -47 88
rect 110 98 112 100
rect 122 98 124 100
<< ptiect1 >>
rect -266 26 -264 28
rect -226 26 -224 28
rect -186 26 -184 28
rect -122 26 -120 28
rect -82 26 -80 28
<< pdifct0 >>
rect -256 83 -254 85
rect -237 76 -235 78
rect -217 74 -215 76
rect -207 76 -205 78
rect -207 69 -205 71
rect -197 76 -195 78
rect -179 62 -177 64
rect -169 83 -167 85
rect -169 76 -167 78
rect -153 69 -151 71
rect -153 62 -151 64
rect -133 77 -131 79
rect -113 74 -111 76
rect -103 76 -101 78
rect -103 69 -101 71
rect -93 76 -91 78
rect -75 62 -73 64
rect -65 83 -63 85
rect -65 76 -63 78
rect -49 69 -47 71
rect -49 62 -47 64
rect -29 77 -27 79
<< pdifct1 >>
rect 10 94 12 96
rect 34 94 36 96
rect -267 73 -265 75
rect -267 66 -265 68
rect -227 69 -225 71
rect -227 62 -225 64
rect -143 69 -141 71
rect -123 69 -121 71
rect -123 62 -121 64
rect -39 69 -37 71
rect 10 84 12 86
rect 22 84 24 86
rect 134 94 136 96
rect 46 84 48 86
rect 46 74 48 76
rect 46 64 48 66
rect 110 84 112 86
rect 146 84 148 86
rect 146 74 148 76
rect 146 64 148 66
rect 210 84 212 86
rect 222 84 224 86
rect 222 64 224 66
rect 266 84 268 86
rect 278 94 280 96
rect 298 84 300 86
rect 310 84 312 86
rect 246 74 248 76
rect 298 64 300 66
<< alu0 >>
rect -258 83 -256 85
rect -254 83 -252 85
rect -258 82 -252 83
rect -250 78 -233 79
rect -250 76 -237 78
rect -235 76 -233 78
rect -250 75 -233 76
rect -219 76 -213 85
rect -265 64 -264 75
rect -250 71 -246 75
rect -219 74 -217 76
rect -215 74 -213 76
rect -219 73 -213 74
rect -208 78 -204 80
rect -208 76 -207 78
rect -205 76 -204 78
rect -261 67 -246 71
rect -261 54 -257 67
rect -208 71 -204 76
rect -199 78 -193 85
rect -170 83 -169 85
rect -167 83 -166 85
rect -199 76 -197 78
rect -195 76 -193 78
rect -199 75 -193 76
rect -170 78 -166 83
rect -170 76 -169 78
rect -167 76 -166 78
rect -170 74 -166 76
rect -162 79 -129 80
rect -162 77 -133 79
rect -131 77 -129 79
rect -162 76 -129 77
rect -115 76 -109 85
rect -208 70 -207 71
rect -221 69 -207 70
rect -205 69 -204 71
rect -221 66 -204 69
rect -242 58 -236 59
rect -261 52 -260 54
rect -258 52 -257 54
rect -261 46 -257 52
rect -261 45 -243 46
rect -261 43 -247 45
rect -245 43 -243 45
rect -261 42 -243 43
rect -221 54 -217 66
rect -162 65 -158 76
rect -115 74 -113 76
rect -111 74 -109 76
rect -115 73 -109 74
rect -104 78 -100 80
rect -104 76 -103 78
rect -101 76 -100 78
rect -181 64 -158 65
rect -181 62 -179 64
rect -177 62 -158 64
rect -181 61 -158 62
rect -181 55 -177 61
rect -221 52 -220 54
rect -218 52 -217 54
rect -221 47 -217 52
rect -221 43 -209 47
rect -225 40 -224 42
rect -213 39 -209 43
rect -188 51 -177 55
rect -188 45 -184 51
rect -162 55 -158 61
rect -154 71 -150 73
rect -154 69 -153 71
rect -151 69 -150 71
rect -154 64 -150 69
rect -154 62 -153 64
rect -151 63 -150 64
rect -151 62 -138 63
rect -154 59 -138 62
rect -142 57 -138 59
rect -142 55 -137 57
rect -162 54 -146 55
rect -162 52 -150 54
rect -148 52 -146 54
rect -162 51 -146 52
rect -142 53 -140 55
rect -138 53 -137 55
rect -142 51 -137 53
rect -188 43 -187 45
rect -185 43 -184 45
rect -188 41 -184 43
rect -142 47 -138 51
rect -162 43 -138 47
rect -162 40 -158 43
rect -213 38 -193 39
rect -162 38 -161 40
rect -159 38 -158 40
rect -213 36 -197 38
rect -195 36 -193 38
rect -213 35 -193 36
rect -175 37 -169 38
rect -175 35 -173 37
rect -171 35 -169 37
rect -162 36 -158 38
rect -104 71 -100 76
rect -95 78 -89 85
rect -66 83 -65 85
rect -63 83 -62 85
rect -95 76 -93 78
rect -91 76 -89 78
rect -95 75 -89 76
rect -66 78 -62 83
rect -66 76 -65 78
rect -63 76 -62 78
rect -66 74 -62 76
rect -58 79 -25 80
rect -58 77 -29 79
rect -27 77 -25 79
rect -58 76 -25 77
rect -104 70 -103 71
rect -117 69 -103 70
rect -101 69 -100 71
rect -117 66 -100 69
rect -117 54 -113 66
rect -58 65 -54 76
rect -77 64 -54 65
rect -77 62 -75 64
rect -73 62 -54 64
rect -77 61 -54 62
rect -77 55 -73 61
rect -117 52 -116 54
rect -114 52 -113 54
rect -117 47 -113 52
rect -117 43 -105 47
rect -121 40 -120 42
rect -258 32 -252 33
rect -258 30 -256 32
rect -254 30 -252 32
rect -258 29 -252 30
rect -239 32 -233 33
rect -239 30 -237 32
rect -235 30 -233 32
rect -239 29 -233 30
rect -175 29 -169 35
rect -109 39 -105 43
rect -84 51 -73 55
rect -84 45 -80 51
rect -58 55 -54 61
rect -50 71 -46 73
rect -50 69 -49 71
rect -47 69 -46 71
rect -50 64 -46 69
rect -50 62 -49 64
rect -47 63 -46 64
rect -47 62 -34 63
rect -50 59 -34 62
rect -38 57 -34 59
rect -38 55 -33 57
rect -58 54 -42 55
rect -58 52 -46 54
rect -44 52 -42 54
rect -58 51 -42 52
rect -38 53 -36 55
rect -34 53 -33 55
rect -38 51 -33 53
rect -84 43 -83 45
rect -81 43 -80 45
rect -84 41 -80 43
rect -38 47 -34 51
rect -58 43 -34 47
rect -58 40 -54 43
rect -109 38 -89 39
rect -58 38 -57 40
rect -55 38 -54 40
rect -109 36 -93 38
rect -91 36 -89 38
rect -109 35 -89 36
rect -71 37 -65 38
rect -71 35 -69 37
rect -67 35 -65 37
rect -58 36 -54 38
rect -71 29 -65 35
<< via1 >>
rect -268 54 -266 56
rect -236 65 -234 67
rect -228 65 -226 67
rect -196 67 -194 69
rect -236 52 -234 54
rect -187 67 -185 69
rect -204 43 -202 45
rect -132 60 -130 62
rect -179 43 -177 45
rect -92 67 -90 69
rect -124 52 -122 54
rect -101 60 -99 62
rect -83 67 -81 69
rect -100 43 -98 45
rect -75 43 -73 45
rect -24 48 -22 50
rect 48 54 50 56
rect 148 54 150 56
rect 230 54 232 56
rect 250 54 252 56
rect 288 64 290 66
rect 288 44 290 46
<< labels >>
rlabel alu1 30 11 30 11 6 vss
rlabel alu1 30 99 30 99 6 vdd
rlabel alu1 130 11 130 11 6 vss
rlabel alu1 130 99 130 99 6 vdd
rlabel alu1 15 55 15 55 1 a
rlabel alu1 35 55 35 55 1 b
rlabel alu1 45 55 45 55 1 andout
rlabel alu1 115 55 115 55 1 a
rlabel alu1 135 55 135 55 1 b
rlabel alu1 145 55 145 55 1 orout
rlabel polyct1 211 55 211 55 6 cmd1
rlabel polyct1 231 55 231 55 6 i2
rlabel alu1 221 75 221 75 6 cmd1
rlabel alu1 231 75 231 75 6 cmd1
rlabel alu1 261 11 261 11 6 vss
rlabel alu1 251 45 251 45 6 nq
rlabel polyct1 251 55 251 55 6 i1
rlabel alu1 261 55 261 55 6 nq
rlabel alu1 261 65 261 65 6 nq
rlabel alu1 251 75 251 75 6 nq
rlabel alu1 261 75 261 75 6 nq
rlabel alu1 261 99 261 99 6 vdd
rlabel alu1 281 45 281 45 6 i0
rlabel alu1 271 55 271 55 6 cmd0
rlabel alu1 291 55 291 55 6 i0
rlabel alu1 281 65 281 65 6 i0
rlabel alu1 271 75 271 75 6 nq
rlabel alu1 281 75 281 75 6 nq
rlabel alu1 291 75 291 75 6 nq
rlabel alu1 301 25 301 25 6 nq
rlabel alu1 311 50 311 50 6 nq
rlabel alu1 301 75 301 75 6 nq
rlabel alu0 -186 48 -186 48 6 bn
rlabel alu0 -140 53 -140 53 6 an
rlabel alu1 -171 49 -171 49 6 a
rlabel alu1 -159 25 -159 25 6 vss
rlabel alu1 -159 89 -159 89 6 vdd
rlabel alu1 -195 69 -195 69 6 b
rlabel alu1 -211 89 -211 89 6 vdd
rlabel alu1 -211 53 -211 53 6 a
rlabel alu1 -211 25 -211 25 6 vss
rlabel alu0 -219 56 -219 56 6 zn
rlabel alu1 -107 25 -107 25 6 vss
rlabel alu1 -107 89 -107 89 6 vdd
rlabel alu1 -27 49 -27 49 1 sum
rlabel alu1 -55 89 -55 89 6 vdd
rlabel alu1 -55 25 -55 25 6 vss
rlabel alu1 -131 49 -131 49 1 s
rlabel alu1 -107 52 -107 52 1 cin
rlabel alu1 -219 37 -219 37 1 co
rlabel alu0 -115 55 -115 55 1 zn_1
rlabel alu0 -82 48 -82 48 1 bn_1
rlabel alu0 -56 40 -56 40 1 an_1
rlabel alu1 -251 89 -251 89 6 vdd
rlabel alu1 -251 25 -251 25 6 vss
rlabel alu1 -115 37 -115 37 1 c1
rlabel alu0 -242 77 -242 77 1 zn_2
rlabel nwell -267 57 -267 57 1 cout
<< end >>
